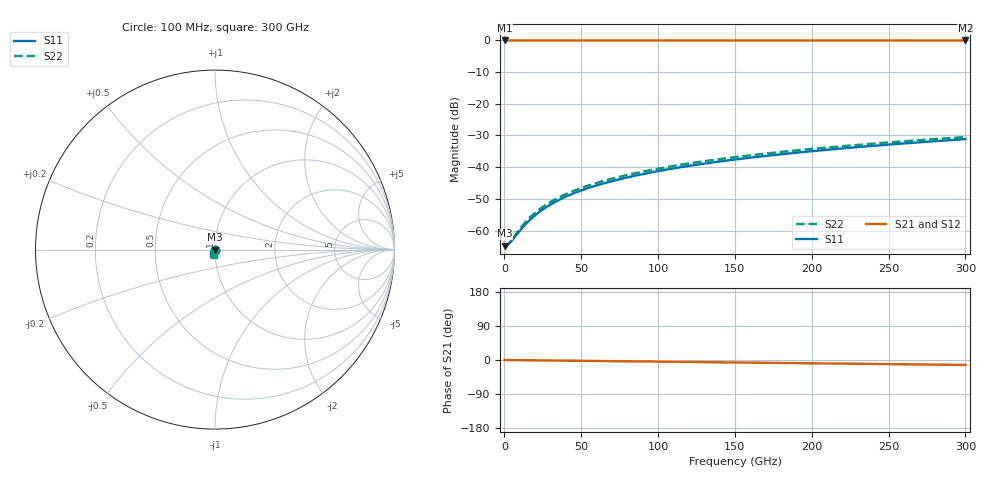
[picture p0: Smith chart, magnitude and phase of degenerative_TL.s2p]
#  Hz  S  RI  R  50
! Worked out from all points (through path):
!   3000 points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, 100 MHz to 300 GHz, reference 50 ohm
!   highest |S21| = -0.01 dB at 200 MHz (marker M1); lowest = 0.0 dB at 300 GHz (marker M2)
!   group delay of S21, straight-line fit = 121 fs
!   lowest |S11| = -64.8 dB at 100 MHz (marker M3), VSWR 1.00, Z = 50.1 - j0.000793 ohm
!   |S11| at or under -10 dB: start of sweep to end of sweep
!   |S22| runs from -64.9 to -30.5 dB; largest |S21 - S12| = 0.0011
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1e8  0.000573 -7.92e-06  0.9994 -7.68e-05  0.9994 -7.69e-05  0.000566 -8.84e-06
2e8  0.000573 -1.58e-05  0.9994 -0.000154  0.9994 -0.000154  0.000566 -1.77e-05
2e9  0.000574 -0.000159  0.9994 -0.00154  0.9994 -0.00154  0.000567 -0.000177
3.9e9  0.000576 -0.000309  0.9994 -0.00299  0.9994 -0.003  0.00057 -0.000345
1.02e10  0.000591 -0.000815  0.9993 -0.00782  0.9993 -0.00783  0.000589 -0.000906
1.45e10  0.000604 -0.00117  0.9993 -0.0111  0.9993 -0.0111  0.000608 -0.00129
1.83e10  0.000616 -0.00149  0.9992 -0.014  0.9992 -0.014  0.000628 -0.00164
2.25e10  0.000625 -0.00184  0.9991 -0.0172  0.9991 -0.0172  0.00065 -0.00203
2.82e10  0.000629 -0.00234  0.999 -0.0215  0.999 -0.0215  0.000676 -0.00256
3.47e10  0.000614 -0.00291  0.9989 -0.0264  0.9989 -0.0263  0.000697 -0.00318
4.2e10  0.000574 -0.00356  0.9987 -0.0318  0.9987 -0.0318  0.000705 -0.00388
5.01e10  0.000502 -0.00427  0.9985 -0.0379  0.9985 -0.0379  0.000696 -0.00465
6.04e10  0.000379 -0.00518  0.9981 -0.0457  0.9981 -0.0457  0.000666 -0.00564
7.21e10  0.000207 -0.0062  0.9976 -0.0545  0.9976 -0.0545  0.000613 -0.00676
8.53e10  -2.66e-05 -0.00736  0.997 -0.0645  0.9969 -0.0644  0.000539 -0.00803
1.001e11  -0.000343 -0.00867  0.9961 -0.0756  0.996 -0.0756  0.000437 -0.00947
1.235e11  -0.000966 -0.0107  0.9946 -0.0932  0.9944 -0.0932  0.000225 -0.0118
1.501e11  -0.00185 -0.0131  0.9924 -0.1132  0.9921 -0.1131  -9.24e-05 -0.0144
1.738e11  -0.0028 -0.0151  0.9901 -0.1309  0.9898 -0.1309  -0.000446 -0.0168
2.001e11  -0.00403 -0.0174  0.9872 -0.1506  0.9867 -0.1505  -0.000927 -0.0194
2.501e11  -0.0069 -0.0216  0.9806 -0.188  0.9798 -0.1879  -0.00207 -0.0245
3e11  -0.0104 -0.0257  0.9725 -0.2251  0.9714 -0.2249  -0.00351 -0.0296
